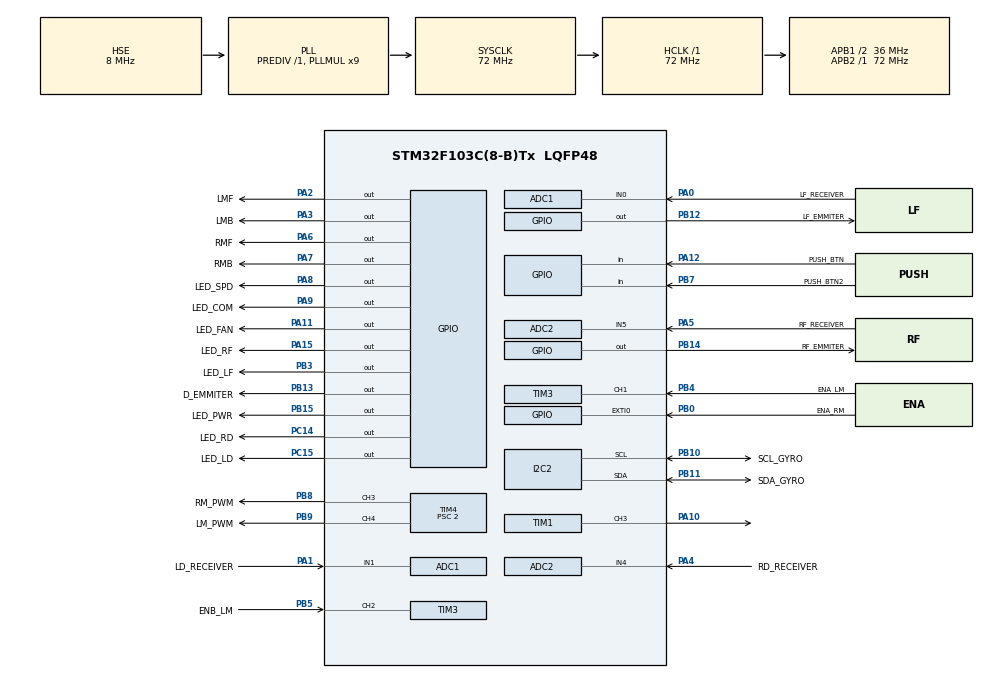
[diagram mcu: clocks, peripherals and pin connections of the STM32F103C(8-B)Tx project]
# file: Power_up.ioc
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ADC1.Channel-0\#ChannelRegularConversion=ADC_CHANNEL_0
ADC1.ContinuousConvMode=DISABLE
ADC1.NbrOfConversionFlag=1
ADC1.Rank-0\#ChannelRegularConversion=1
ADC1.SamplingTime-0\#ChannelRegularConversion=ADC_SAMPLETIME_1CYCLE_5
ADC1.master=1
ADC2.Channel-2\#ChannelRegularConversion=ADC_CHANNEL_4
ADC2.ContinuousConvMode=DISABLE
ADC2.NbrOfConversionFlag=1
ADC2.Rank-2\#ChannelRegularConversion=1
ADC2.SamplingTime-2\#ChannelRegularConversion=ADC_SAMPLETIME_1CYCLE_5
I2C2.I2C_Mode=I2C_Fast
Mcu.Family=STM32F1
Mcu.Name=STM32F103C(8-B)Tx
Mcu.Package=LQFP48
NVIC.PriorityGroup=NVIC_PRIORITYGROUP_4
NVIC.TIM3_IRQn=true\:0\:0\:false\:false\:true\:true\:true\:true
PA0-WKUP.GPIO_Label=LF_RECEIVER
PA0-WKUP.Signal=ADCx_IN0
PA1.GPIO_Label=LD_RECEIVER
PA1.Signal=ADCx_IN1
PA10.Signal=S_TIM1_CH3
PA11.GPIO_Label=LED_FAN
PA11.Signal=GPIO_Output
PA12.GPIO_Label=PUSH_BTN
PA12.GPIO_PuPd=GPIO_PULLDOWN
PA12.Signal=GPIO_Input
PA13.Mode=Serial_Wire
PA13.Signal=SYS_JTMS-SWDIO
PA14.Mode=Serial_Wire
PA14.Signal=SYS_JTCK-SWCLK
PA15.GPIO_Label=LED_RF
PA15.Signal=GPIO_Output
PA2.GPIO_Label=LMF
PA2.Signal=GPIO_Output
PA3.GPIO_Label=LMB
PA3.Signal=GPIO_Output
PA4.GPIO_Label=RD_RECEIVER
PA4.Signal=ADCx_IN4
PA5.GPIO_Label=RF_RECEIVER
PA5.Signal=ADCx_IN5
PA6.GPIO_Label=RMF
PA6.Signal=GPIO_Output
PA7.GPIO_Label=RMB
PA7.Signal=GPIO_Output
PA8.GPIO_Label=LED_SPD
PA8.Signal=GPIO_Output
PA9.GPIO_Label=LED_COM
PA9.Signal=GPIO_Output
PB0.GPIO_Label=ENA_RM
PB0.GPIO_ModeDefaultEXTI=GPIO_MODE_IT_FALLING
PB0.GPIO_PuPd=GPIO_PULLUP
PB0.Signal=GPXTI0
PB10.GPIO_Label=SCL_GYRO
PB10.Mode=I2C
PB10.Signal=I2C2_SCL
PB11.GPIO_Label=SDA_GYRO
PB11.Mode=I2C
PB11.Signal=I2C2_SDA
PB12.GPIO_Label=LF_EMMITER
PB12.Signal=GPIO_Output
PB13.GPIO_Label=D_EMMITER
PB13.Signal=GPIO_Output
PB14.GPIO_Label=RF_EMMITER
PB14.Signal=GPIO_Output
PB15.GPIO_Label=LED_PWR
PB15.Signal=GPIO_Output
PB3.GPIO_Label=LED_LF
PB3.Signal=GPIO_Output
PB4.GPIO_Label=ENA_LM
PB4.Signal=S_TIM3_CH1
PB5.GPIO_Label=ENB_LM
PB5.Signal=S_TIM3_CH2
PB7.GPIO_Label=PUSH_BTN2
PB7.GPIO_PuPd=GPIO_PULLDOWN
PB7.Signal=GPIO_Input
PB8.GPIO_Label=RM_PWM
PB8.Signal=S_TIM4_CH3
PB9.GPIO_Label=LM_PWM
PB9.Signal=S_TIM4_CH4
PC14-OSC32_IN.GPIO_Label=LED_RD
PC14-OSC32_IN.Signal=GPIO_Output
PC15-OSC32_OUT.GPIO_Label=LED_LD
PC15-OSC32_OUT.Signal=GPIO_Output
PD0-OSC_IN.Mode=HSE-External-Oscillator
PD0-OSC_IN.Signal=RCC_OSC_IN
PD1-OSC_OUT.Mode=HSE-External-Oscillator
PD1-OSC_OUT.Signal=RCC_OSC_OUT
ProjectManager.HeapSize=0x200
ProjectManager.StackSize=0x400
ProjectManager.TargetToolchain=STM32CubeIDE
RCC.ADCPresc=RCC_ADCPCLK2_DIV6
RCC.AHBFreq_Value=72000000
RCC.APB1CLKDivider=RCC_HCLK_DIV2
RCC.APB1Freq_Value=36000000
RCC.APB1TimFreq_Value=72000000
RCC.APB2Freq_Value=72000000
RCC.APB2TimFreq_Value=72000000
RCC.HCLKFreq_Value=72000000
RCC.PLLMUL=RCC_PLL_MUL9
RCC.PLLSourceVirtual=RCC_PLLSOURCE_HSE
RCC.SYSCLKFreq_VALUE=72000000
RCC.SYSCLKSource=RCC_SYSCLKSOURCE_PLLCLK
RCC.USBFreq_Value=72000000
SH.ADCx_IN0.0=ADC1_IN0,IN0
SH.ADCx_IN1.0=ADC1_IN1,IN1
SH.ADCx_IN4.0=ADC2_IN4,IN4
SH.ADCx_IN5.0=ADC2_IN5,IN5
SH.S_TIM1_CH3.0=TIM1_CH3,PWM Generation3 CH3
SH.S_TIM3_CH1.0=TIM3_CH1,Encoder_Interface
SH.S_TIM3_CH2.0=TIM3_CH2,Encoder_Interface
SH.S_TIM4_CH3.0=TIM4_CH3,PWM Generation3 CH3
SH.S_TIM4_CH4.0=TIM4_CH4,PWM Generation4 CH4
TIM1.Channel-PWM\ Generation3\ CH3=TIM_CHANNEL_3
TIM1.Period=20
TIM1.Prescaler=127
TIM3.EncoderMode=TIM_ENCODERMODE_TI12
TIM3.Period=599
TIM3.Prescaler=2
TIM4.Channel-PWM\ Generation3\ CH3=TIM_CHANNEL_3
TIM4.Channel-PWM\ Generation4\ CH4=TIM_CHANNEL_4
TIM4.Period=599
TIM4.Prescaler=2
VP_TIM1_VS_ClockSourceINT.Mode=Internal
board=custom

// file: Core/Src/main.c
/* USER CODE BEGIN Header */
/**
  ******************************************************************************
  * @file           : main.c
  * @brief          : Main program body
  ******************************************************************************
  * @attention
  *
  * Copyright (c) 2024 STMicroelectronics.
  * All rights reserved.
  *
  * This software is licensed under terms that can be found in the LICENSE file
  * in the root directory of this software component.
  * If no LICENSE file comes with this software, it is provided AS-IS.
  *
  ******************************************************************************
  */
/* USER CODE END Header */
#include "main.h"

/* USER CODE BEGIN Includes */
#include <stdio.h>
#include <math.h>
#include "variables.h"
#include "push_btn_library.h"
#include "buzzer.h"
#include "motor_control.h"
#include "pid_position.h"
#include "get_ir_reading.h"
#include "mpu6050.h"
#include "rotate_angle.h"
/* USER CODE END Includes */

ADC_HandleTypeDef hadc1;
ADC_HandleTypeDef hadc2;

I2C_HandleTypeDef hi2c2;

TIM_HandleTypeDef htim1;
TIM_HandleTypeDef htim3;
TIM_HandleTypeDef htim4;

void SystemClock_Config(void);
static void MX_GPIO_Init(void);
static void MX_TIM1_Init(void);
static void MX_TIM4_Init(void);
static void MX_TIM3_Init(void);
static void MX_ADC1_Init(void);
static void MX_ADC2_Init(void);
static void MX_I2C2_Init(void);

int main(void)
{

  /* MCU Configuration--------------------------------------------------------*/

  /* Reset of all peripherals, Initializes the Flash interface and the Systick. */
  HAL_Init();

  /* Configure the system clock */
  SystemClock_Config();

  /* Initialize all configured peripherals */
  MX_GPIO_Init();
  MX_TIM1_Init();
  MX_TIM4_Init();
  MX_TIM3_Init();
  MX_ADC1_Init();
  MX_ADC2_Init();
  MX_I2C2_Init();
  /* USER CODE BEGIN 2 */
  HAL_GPIO_WritePin(LED_PWR_GPIO_Port, LED_PWR_Pin, GPIO_PIN_SET);
  HAL_TIM_PWM_Start(&htim1, TIM_CHANNEL_3);
  HAL_TIM_PWM_Start(&htim4, TIM_CHANNEL_3);
  HAL_TIM_PWM_Start(&htim4, TIM_CHANNEL_4);
  HAL_TIM_Encoder_Start_IT(&htim3, TIM_CHANNEL_1);
  HAL_TIM_Encoder_Start_IT(&htim3, TIM_CHANNEL_2);

  buzzer_power_up_tone();

  __HAL_TIM_SET_COUNTER(&htim3, 0); // Reset the counter

  Calibrate_IR_Sensors();
//  HAL_Delay(2000);
//  MPU6050_Init();
//  MPU6050_CalibrateGyro();
//  HAL_Delay(2000);

  /* USER CODE END 2 */

  /* Infinite loop */
  /* USER CODE BEGIN WHILE */
  while (1)
  {
//	  __HAL_TIM_SET_COUNTER(&htim3, 0); // Reset the counter
    // Check if push button is pressed (adjust logic based on pull-up/pull-down configuration)
	  push_btn(PUSH_BTN2_GPIO_Port, PUSH_BTN2_Pin, LED_COM_GPIO_Port, LED_COM_Pin);
	  Get_IR_Readings();
	  motor_control_loop_with_pid();
    /* USER CODE END WHILE */

  }
}

void SystemClock_Config(void)
{
  RCC_OscInitTypeDef RCC_OscInitStruct = {0};
  RCC_ClkInitTypeDef RCC_ClkInitStruct = {0};
  RCC_PeriphCLKInitTypeDef PeriphClkInit = {0};

  /** Initializes the RCC Oscillators according to the specified parameters
  * in the RCC_OscInitTypeDef structure.
  */
  RCC_OscInitStruct.OscillatorType = RCC_OSCILLATORTYPE_HSE;
  RCC_OscInitStruct.HSEState = RCC_HSE_ON;
  RCC_OscInitStruct.HSEPredivValue = RCC_HSE_PREDIV_DIV1;
  RCC_OscInitStruct.HSIState = RCC_HSI_ON;
  RCC_OscInitStruct.PLL.PLLState = RCC_PLL_ON;
  RCC_OscInitStruct.PLL.PLLSource = RCC_PLLSOURCE_HSE;
  RCC_OscInitStruct.PLL.PLLMUL = RCC_PLL_MUL9;
  if (HAL_RCC_OscConfig(&RCC_OscInitStruct) != HAL_OK)
  {
    Error_Handler();
  }

  /** Initializes the CPU, AHB and APB buses clocks
  */
  RCC_ClkInitStruct.ClockType = RCC_CLOCKTYPE_HCLK|RCC_CLOCKTYPE_SYSCLK
                              |RCC_CLOCKTYPE_PCLK1|RCC_CLOCKTYPE_PCLK2;
  RCC_ClkInitStruct.SYSCLKSource = RCC_SYSCLKSOURCE_PLLCLK;
  RCC_ClkInitStruct.AHBCLKDivider = RCC_SYSCLK_DIV1;
  RCC_ClkInitStruct.APB1CLKDivider = RCC_HCLK_DIV2;
  RCC_ClkInitStruct.APB2CLKDivider = RCC_HCLK_DIV1;

  if (HAL_RCC_ClockConfig(&RCC_ClkInitStruct, FLASH_LATENCY_2) != HAL_OK)
  {
    Error_Handler();
  }
  PeriphClkInit.PeriphClockSelection = RCC_PERIPHCLK_ADC;
  PeriphClkInit.AdcClockSelection = RCC_ADCPCLK2_DIV6;
  if (HAL_RCCEx_PeriphCLKConfig(&PeriphClkInit) != HAL_OK)
  {
    Error_Handler();
  }
}

static void MX_ADC1_Init(void)
{

  ADC_ChannelConfTypeDef sConfig = {0};

  /** Common config
  */
  hadc1.Instance = ADC1;
  hadc1.Init.ScanConvMode = ADC_SCAN_DISABLE;
  hadc1.Init.ContinuousConvMode = DISABLE;
  hadc1.Init.DiscontinuousConvMode = DISABLE;
  hadc1.Init.ExternalTrigConv = ADC_SOFTWARE_START;
  hadc1.Init.DataAlign = ADC_DATAALIGN_RIGHT;
  hadc1.Init.NbrOfConversion = 1;
  if (HAL_ADC_Init(&hadc1) != HAL_OK)
  {
    Error_Handler();
  }

  /** Configure Regular Channel
  */
  sConfig.Channel = ADC_CHANNEL_0;
  sConfig.Rank = ADC_REGULAR_RANK_1;
  sConfig.SamplingTime = ADC_SAMPLETIME_1CYCLE_5;
  if (HAL_ADC_ConfigChannel(&hadc1, &sConfig) != HAL_OK)
  {
    Error_Handler();
  }

}

static void MX_ADC2_Init(void)
{

  ADC_ChannelConfTypeDef sConfig = {0};

  /** Common config
  */
  hadc2.Instance = ADC2;
  hadc2.Init.ScanConvMode = ADC_SCAN_DISABLE;
  hadc2.Init.ContinuousConvMode = DISABLE;
  hadc2.Init.DiscontinuousConvMode = DISABLE;
  hadc2.Init.ExternalTrigConv = ADC_SOFTWARE_START;
  hadc2.Init.DataAlign = ADC_DATAALIGN_RIGHT;
  hadc2.Init.NbrOfConversion = 1;
  if (HAL_ADC_Init(&hadc2) != HAL_OK)
  {
    Error_Handler();
  }

  /** Configure Regular Channel
  */
  sConfig.Channel = ADC_CHANNEL_4;
  sConfig.Rank = ADC_REGULAR_RANK_1;
  sConfig.SamplingTime = ADC_SAMPLETIME_1CYCLE_5;
  if (HAL_ADC_ConfigChannel(&hadc2, &sConfig) != HAL_OK)
  {
    Error_Handler();
  }

}

static void MX_I2C2_Init(void)
{

  hi2c2.Instance = I2C2;
  hi2c2.Init.ClockSpeed = 400000;
  hi2c2.Init.DutyCycle = I2C_DUTYCYCLE_2;
  hi2c2.Init.OwnAddress1 = 0;
  hi2c2.Init.AddressingMode = I2C_ADDRESSINGMODE_7BIT;
  hi2c2.Init.DualAddressMode = I2C_DUALADDRESS_DISABLE;
  hi2c2.Init.OwnAddress2 = 0;
  hi2c2.Init.GeneralCallMode = I2C_GENERALCALL_DISABLE;
  hi2c2.Init.NoStretchMode = I2C_NOSTRETCH_DISABLE;
  if (HAL_I2C_Init(&hi2c2) != HAL_OK)
  {
    Error_Handler();
  }

}

static void MX_TIM1_Init(void)
{

  TIM_ClockConfigTypeDef sClockSourceConfig = {0};
  TIM_MasterConfigTypeDef sMasterConfig = {0};
  TIM_OC_InitTypeDef sConfigOC = {0};
  TIM_BreakDeadTimeConfigTypeDef sBreakDeadTimeConfig = {0};

  htim1.Instance = TIM1;
  htim1.Init.Prescaler = 127;
  htim1.Init.CounterMode = TIM_COUNTERMODE_UP;
  htim1.Init.Period = 20;
  htim1.Init.ClockDivision = TIM_CLOCKDIVISION_DIV1;
  htim1.Init.RepetitionCounter = 0;
  htim1.Init.AutoReloadPreload = TIM_AUTORELOAD_PRELOAD_DISABLE;
  if (HAL_TIM_Base_Init(&htim1) != HAL_OK)
  {
    Error_Handler();
  }
  sClockSourceConfig.ClockSource = TIM_CLOCKSOURCE_INTERNAL;
  if (HAL_TIM_ConfigClockSource(&htim1, &sClockSourceConfig) != HAL_OK)
  {
    Error_Handler();
  }
  if (HAL_TIM_PWM_Init(&htim1) != HAL_OK)
  {
    Error_Handler();
  }
  sMasterConfig.MasterOutputTrigger = TIM_TRGO_RESET;
  sMasterConfig.MasterSlaveMode = TIM_MASTERSLAVEMODE_DISABLE;
  if (HAL_TIMEx_MasterConfigSynchronization(&htim1, &sMasterConfig) != HAL_OK)
  {
    Error_Handler();
  }
  sConfigOC.OCMode = TIM_OCMODE_PWM1;
  sConfigOC.Pulse = 0;
  sConfigOC.OCPolarity = TIM_OCPOLARITY_HIGH;
  sConfigOC.OCNPolarity = TIM_OCNPOLARITY_HIGH;
  sConfigOC.OCFastMode = TIM_OCFAST_DISABLE;
  sConfigOC.OCIdleState = TIM_OCIDLESTATE_RESET;
  sConfigOC.OCNIdleState = TIM_OCNIDLESTATE_RESET;
  if (HAL_TIM_PWM_ConfigChannel(&htim1, &sConfigOC, TIM_CHANNEL_3) != HAL_OK)
  {
    Error_Handler();
  }
  sBreakDeadTimeConfig.OffStateRunMode = TIM_OSSR_DISABLE;
  sBreakDeadTimeConfig.OffStateIDLEMode = TIM_OSSI_DISABLE;
  sBreakDeadTimeConfig.LockLevel = TIM_LOCKLEVEL_OFF;
  sBreakDeadTimeConfig.DeadTime = 0;
  sBreakDeadTimeConfig.BreakState = TIM_BREAK_DISABLE;
  sBreakDeadTimeConfig.BreakPolarity = TIM_BREAKPOLARITY_HIGH;
  sBreakDeadTimeConfig.AutomaticOutput = TIM_AUTOMATICOUTPUT_DISABLE;
  if (HAL_TIMEx_ConfigBreakDeadTime(&htim1, &sBreakDeadTimeConfig) != HAL_OK)
  {
    Error_Handler();
  }
  HAL_TIM_MspPostInit(&htim1);

}

static void MX_TIM3_Init(void)
{

  TIM_Encoder_InitTypeDef sConfig = {0};
  TIM_MasterConfigTypeDef sMasterConfig = {0};

  htim3.Instance = TIM3;
  htim3.Init.Prescaler = 2;
  htim3.Init.CounterMode = TIM_COUNTERMODE_UP;
  htim3.Init.Period = 599;
  htim3.Init.ClockDivision = TIM_CLOCKDIVISION_DIV1;
  htim3.Init.AutoReloadPreload = TIM_AUTORELOAD_PRELOAD_DISABLE;
  sConfig.EncoderMode = TIM_ENCODERMODE_TI12;
  sConfig.IC1Polarity = TIM_ICPOLARITY_RISING;
  sConfig.IC1Selection = TIM_ICSELECTION_DIRECTTI;
  sConfig.IC1Prescaler = TIM_ICPSC_DIV1;
  sConfig.IC1Filter = 0;
  sConfig.IC2Polarity = TIM_ICPOLARITY_RISING;
  sConfig.IC2Selection = TIM_ICSELECTION_DIRECTTI;
  sConfig.IC2Prescaler = TIM_ICPSC_DIV1;
  sConfig.IC2Filter = 0;
  if (HAL_TIM_Encoder_Init(&htim3, &sConfig) != HAL_OK)
  {
    Error_Handler();
  }
  sMasterConfig.MasterOutputTrigger = TIM_TRGO_RESET;
  sMasterConfig.MasterSlaveMode = TIM_MASTERSLAVEMODE_DISABLE;
  if (HAL_TIMEx_MasterConfigSynchronization(&htim3, &sMasterConfig) != HAL_OK)
  {
    Error_Handler();
  }

}

static void MX_TIM4_Init(void)
{

  TIM_MasterConfigTypeDef sMasterConfig = {0};
  TIM_OC_InitTypeDef sConfigOC = {0};

  htim4.Instance = TIM4;
  htim4.Init.Prescaler = 2;
  htim4.Init.CounterMode = TIM_COUNTERMODE_UP;
  htim4.Init.Period = 599;
  htim4.Init.ClockDivision = TIM_CLOCKDIVISION_DIV1;
  htim4.Init.AutoReloadPreload = TIM_AUTORELOAD_PRELOAD_DISABLE;
  if (HAL_TIM_PWM_Init(&htim4) != HAL_OK)
  {
    Error_Handler();
  }
  sMasterConfig.MasterOutputTrigger = TIM_TRGO_RESET;
  sMasterConfig.MasterSlaveMode = TIM_MASTERSLAVEMODE_DISABLE;
  if (HAL_TIMEx_MasterConfigSynchronization(&htim4, &sMasterConfig) != HAL_OK)
  {
    Error_Handler();
  }
  sConfigOC.OCMode = TIM_OCMODE_PWM1;
  sConfigOC.Pulse = 0;
  sConfigOC.OCPolarity = TIM_OCPOLARITY_HIGH;
  sConfigOC.OCFastMode = TIM_OCFAST_DISABLE;
  if (HAL_TIM_PWM_ConfigChannel(&htim4, &sConfigOC, TIM_CHANNEL_3) != HAL_OK)
  {
    Error_Handler();
  }
  if (HAL_TIM_PWM_ConfigChannel(&htim4, &sConfigOC, TIM_CHANNEL_4) != HAL_OK)
  {
    Error_Handler();
  }
  HAL_TIM_MspPostInit(&htim4);

}

static void MX_GPIO_Init(void)
{
  GPIO_InitTypeDef GPIO_InitStruct = {0};

  /* GPIO Ports Clock Enable */
  __HAL_RCC_GPIOC_CLK_ENABLE();
  __HAL_RCC_GPIOD_CLK_ENABLE();
  __HAL_RCC_GPIOA_CLK_ENABLE();
  __HAL_RCC_GPIOB_CLK_ENABLE();

  /*Configure GPIO pin Output Level */
  HAL_GPIO_WritePin(GPIOC, LED_RD_Pin|LED_LD_Pin, GPIO_PIN_RESET);

  /*Configure GPIO pin Output Level */
  HAL_GPIO_WritePin(GPIOA, LMF_Pin|LMB_Pin|RMF_Pin|RMB_Pin
                          |LED_SPD_Pin|LED_COM_Pin|LED_FAN_Pin|LED_RF_Pin, GPIO_PIN_RESET);

  /*Configure GPIO pin Output Level */
  HAL_GPIO_WritePin(GPIOB, LF_EMMITER_Pin|D_EMMITER_Pin|RF_EMMITER_Pin|LED_PWR_Pin
                          |LED_LF_Pin, GPIO_PIN_RESET);

  /*Configure GPIO pins : LED_RD_Pin LED_LD_Pin */
  GPIO_InitStruct.Pin = LED_RD_Pin|LED_LD_Pin;
  GPIO_InitStruct.Mode = GPIO_MODE_OUTPUT_PP;
  GPIO_InitStruct.Pull = GPIO_NOPULL;
  GPIO_InitStruct.Speed = GPIO_SPEED_FREQ_LOW;
  HAL_GPIO_Init(GPIOC, &GPIO_InitStruct);

  /*Configure GPIO pins : LMF_Pin LMB_Pin RMF_Pin RMB_Pin
                           LED_SPD_Pin LED_COM_Pin LED_FAN_Pin LED_RF_Pin */
  GPIO_InitStruct.Pin = LMF_Pin|LMB_Pin|RMF_Pin|RMB_Pin
                          |LED_SPD_Pin|LED_COM_Pin|LED_FAN_Pin|LED_RF_Pin;
  GPIO_InitStruct.Mode = GPIO_MODE_OUTPUT_PP;
  GPIO_InitStruct.Pull = GPIO_NOPULL;
  GPIO_InitStruct.Speed = GPIO_SPEED_FREQ_LOW;
  HAL_GPIO_Init(GPIOA, &GPIO_InitStruct);

  /*Configure GPIO pin : ENA_RM_Pin */
  GPIO_InitStruct.Pin = ENA_RM_Pin;
  GPIO_InitStruct.Mode = GPIO_MODE_IT_FALLING;
  GPIO_InitStruct.Pull = GPIO_PULLUP;
  HAL_GPIO_Init(ENA_RM_GPIO_Port, &GPIO_InitStruct);

  /*Configure GPIO pins : LF_EMMITER_Pin D_EMMITER_Pin RF_EMMITER_Pin LED_PWR_Pin
                           LED_LF_Pin */
  GPIO_InitStruct.Pin = LF_EMMITER_Pin|D_EMMITER_Pin|RF_EMMITER_Pin|LED_PWR_Pin
                          |LED_LF_Pin;
  GPIO_InitStruct.Mode = GPIO_MODE_OUTPUT_PP;
  GPIO_InitStruct.Pull = GPIO_NOPULL;
  GPIO_InitStruct.Speed = GPIO_SPEED_FREQ_LOW;
  HAL_GPIO_Init(GPIOB, &GPIO_InitStruct);

  /*Configure GPIO pin : PUSH_BTN_Pin */
  GPIO_InitStruct.Pin = PUSH_BTN_Pin;
  GPIO_InitStruct.Mode = GPIO_MODE_INPUT;
  GPIO_InitStruct.Pull = GPIO_PULLDOWN;
  HAL_GPIO_Init(PUSH_BTN_GPIO_Port, &GPIO_InitStruct);

  /*Configure GPIO pin : PUSH_BTN2_Pin */
  GPIO_InitStruct.Pin = PUSH_BTN2_Pin;
  GPIO_InitStruct.Mode = GPIO_MODE_INPUT;
  GPIO_InitStruct.Pull = GPIO_PULLDOWN;
  HAL_GPIO_Init(PUSH_BTN2_GPIO_Port, &GPIO_InitStruct);

}

void Error_Handler(void)
{
  __disable_irq();
  while (1)
  {
  }
}
